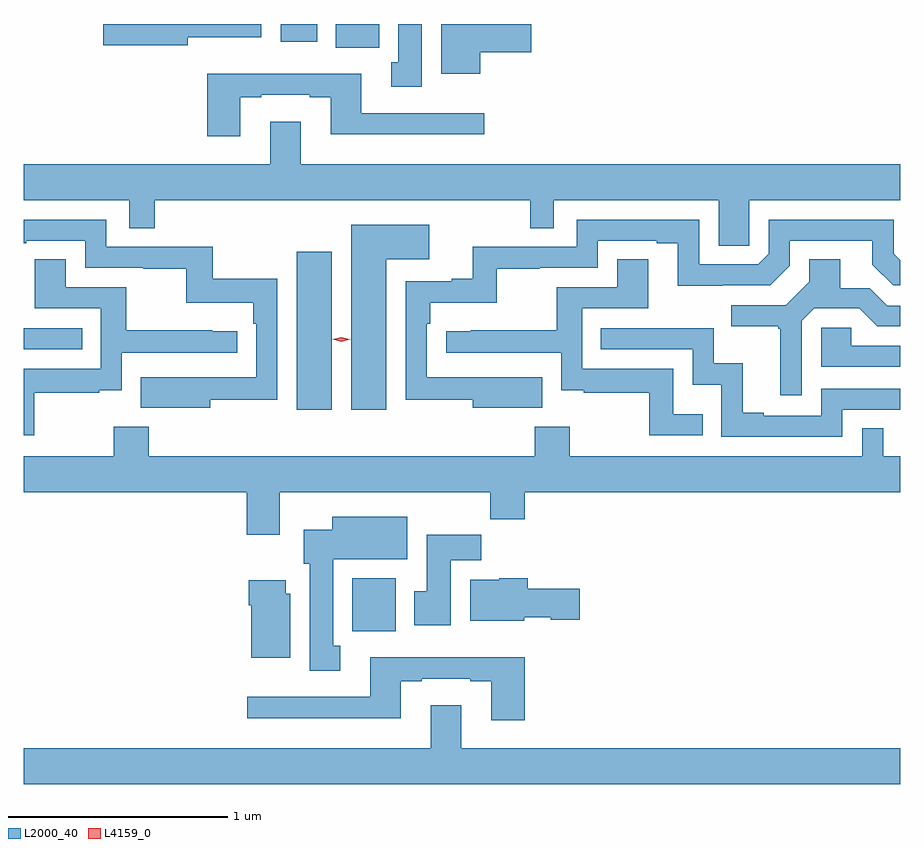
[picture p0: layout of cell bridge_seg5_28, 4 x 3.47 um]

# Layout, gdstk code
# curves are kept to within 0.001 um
import gdstk
lib = gdstk.Library(unit=1e-6, precision=1e-09)
def R(c, l, rs):  # rectangles x0, y0, x1, y1
    for r in rs: c.add(gdstk.rectangle(r[:2], r[2:], *l))
def P(c, l, *ps):  # polygons
    for p in ps: c.add(gdstk.Polygon(p, *l))
L2000_40 = (2000, 40)
L4159_0 = (4159, 0)

bridge_seg5_28 = lib.new_cell('bridge_seg5_28')
R(bridge_seg5_28, L2000_40, [(1103.312,861.452,1103.509,861.694), (1103.057,862.464,1103.218,863.185), (1101.812,862.74,1102.079,862.836), (1103.237,864.116,1103.434,864.224), (1102.985,864.144,1103.152,864.224)])
P(bridge_seg5_28, L2000_40, [(1103.629,864.224),(1103.522,864.224),(1103.522,864.05),(1103.489,864.05),(1103.489,863.937),(1103.629,863.937)],
  [(1102.56,864.164),(1102.897,864.164),(1102.897,864.224),(1102.176,864.224),(1102.176,864.128),(1102.56,864.128)],
  [(1103.896,864.095),(1104.127,864.095),(1104.127,864.224),(1103.717,864.224),(1103.717,863.996),(1103.896,863.996)],
  [(1102.801,863.889),(1102.897,863.889),(1102.897,863.901),(1103.117,863.901),(1103.117,863.889),(1103.213,863.889),(1103.213,863.72),(1103.914,863.72),(1103.914,863.817),(1103.353,863.817),(1103.353,863.998),(1102.649,863.998),(1102.649,863.712),(1102.801,863.712)],
  [(1105.122,863.42),(1105.812,863.42),(1105.812,863.584),(1103.077,863.584),(1103.077,863.779),(1102.937,863.779),(1102.937,863.584),(1101.812,863.584),(1101.812,863.42),(1102.293,863.42),(1102.293,863.293),(1102.409,863.293),(1102.409,863.42),(1104.123,863.42),(1104.123,863.293),(1104.231,863.293),(1104.231,863.42),(1104.983,863.42),(1104.983,863.212),(1105.122,863.212)],
  [(1104.179,862.612),(1103.652,862.611),(1103.652,862.856),(1103.666,862.856),(1103.666,862.952),(1103.971,862.952),(1103.971,863.107),(1104.167,863.107),(1104.167,863.112),(1104.432,863.112),(1104.432,863.235),(1104.701,863.235),(1104.701,863.223),(1104.797,863.223),(1104.797,863.03),(1105.218,863.031),(1105.308,863.121),(1105.308,863.235),(1105.685,863.235),(1105.685,863.125),(1105.779,863.031),(1105.812,863.031),(1105.812,863.145),(1105.782,863.175),(1105.782,863.331),(1105.212,863.331),(1105.212,863.175),(1105.164,863.127),(1104.894,863.127),(1104.894,863.331),(1104.336,863.331),(1104.336,863.208),(1103.861,863.208),(1103.861,863.062),(1103.765,863.062),(1103.765,863.049),(1103.556,863.049),(1103.556,862.51),(1103.861,862.51),(1103.861,862.472),(1104.179,862.472)],
  [(1102.663,862.51),(1102.968,862.51),(1102.968,863.062),(1102.675,863.062),(1102.675,863.208),(1102.188,863.208),(1102.188,863.331),(1101.812,863.331),(1101.812,863.223),(1101.823,863.223),(1101.823,863.235),(1102.092,863.235),(1102.092,863.112),(1102.357,863.112),(1102.357,863.107),(1102.554,863.107),(1102.554,862.952),(1102.859,862.952),(1102.859,862.856),(1102.872,862.856),(1102.872,862.611),(1102.559,862.611),(1102.559,862.612),(1102.345,862.612),(1102.345,862.472),(1102.663,862.472)],
  [(1103.467,863.15),(1103.662,863.15),(1103.662,863.308),(1103.306,863.308),(1103.306,862.464),(1103.467,862.464)],
  [(1101.859,862.542),(1102.157,862.542),(1102.157,862.553),(1102.26,862.553),(1102.26,862.725),(1102.786,862.725),(1102.786,862.821),(1102.673,862.821),(1102.673,862.826),(1102.28,862.826),(1102.28,863.022),(1102.003,863.022),(1102.003,863.15),(1101.863,863.15),(1101.863,862.926),(1102.164,862.926),(1102.164,862.65),(1101.812,862.65),(1101.812,862.347),(1101.859,862.347)],
  [(1104.911,862.444),(1104.777,862.444),(1104.777,862.65),(1104.36,862.65),(1104.36,862.926),(1104.661,862.926),(1104.661,863.15),(1104.521,863.15),(1104.521,863.022),(1104.244,863.022),(1104.244,862.826),(1103.851,862.826),(1103.851,862.821),(1103.739,862.821),(1103.739,862.725),(1104.264,862.725),(1104.264,862.553),(1104.367,862.553),(1104.367,862.542),(1104.666,862.542),(1104.666,862.347),(1104.911,862.347)],
  [(1105.362,862.869),(1105.419,862.926),(1105.625,862.926),(1105.706,862.845),(1105.812,862.845),(1105.812,862.938),(1105.752,862.938),(1105.672,863.018),(1105.537,863.018),(1105.537,863.15),(1105.397,863.15),(1105.397,863.048),(1105.29,862.941),(1105.041,862.941),(1105.041,862.844),(1105.254,862.844),(1105.254,862.833),(1105.265,862.833),(1105.265,862.53),(1105.362,862.53)],
  [(1105.812,862.755),(1105.589,862.755),(1105.589,862.839),(1105.452,862.839),(1105.452,862.659),(1105.812,862.659)],
  [(1105.548,862.464),(1105.812,862.464),(1105.812,862.56),(1105.452,862.56),(1105.452,862.437),(1105.189,862.437),(1105.189,862.45),(1105.093,862.45),(1105.093,862.675),(1104.96,862.675),(1104.96,862.836),(1104.445,862.836),(1104.445,862.74),(1104.864,862.74),(1104.864,862.577),(1104.996,862.577),(1104.996,862.341),(1105.548,862.341)],
  [(1102.981,862.088),(1103.941,862.088),(1103.941,861.964),(1104.098,861.964),(1104.098,862.088),(1105.812,862.088),(1105.812,862.252),(1105.734,862.252),(1105.734,862.379),(1105.638,862.379),(1105.638,862.252),(1104.303,862.252),(1104.303,862.387),(1104.143,862.387),(1104.143,862.252),(1102.382,862.252),(1102.382,862.387),(1102.222,862.387),(1102.222,862.252),(1101.812,862.252),(1101.812,862.088),(1102.829,862.088),(1102.829,861.894),(1102.981,861.894)],
  [(1103.257,861.386),(1103.224,861.386),(1103.224,861.782),(1103.563,861.782),(1103.563,861.976),(1103.219,861.976),(1103.219,861.916),(1103.09,861.916),(1103.09,861.762),(1103.117,861.762),(1103.117,861.273),(1103.257,861.273)],
  [(1103.761,861.776),(1103.9,861.776),(1103.9,861.894),(1103.651,861.894),(1103.651,861.636),(1103.594,861.636),(1103.594,861.48),(1103.761,861.48)],
  [(1104.096,861.518),(1104.216,861.518),(1104.216,861.506),(1104.349,861.506),(1104.349,861.648),(1104.113,861.648),(1104.113,861.694),(1103.982,861.694),(1103.982,861.688),(1103.849,861.688),(1103.849,861.5),(1104.096,861.5)],
  [(1103.029,861.624),(1103.008,861.624),(1103.008,861.685),(1102.838,861.685),(1102.838,861.572),(1102.85,861.572),(1102.85,861.332),(1103.029,861.332)],
  [(1104.098,861.334),(1103.393,861.334),(1103.393,861.153),(1102.833,861.153),(1102.833,861.056),(1103.533,861.056),(1103.533,861.225),(1103.629,861.225),(1103.629,861.237),(1103.849,861.237),(1103.849,861.225),(1103.945,861.225),(1103.945,861.048),(1104.098,861.048)],
  [(1105.812,860.92),(1103.809,860.92),(1103.809,861.115),(1103.669,861.115),(1103.669,860.92),(1101.812,860.92),(1101.812,860.756),(1105.812,860.756)])
P(bridge_seg5_28, L4159_0, [(1103.262,862.775),(1103.222,862.785),(1103.222,862.785),(1103.222,862.786),(1103.262,862.795),(1103.302,862.786),(1103.302,862.785),(1103.302,862.785)])

lib.write_gds('bridge_seg5_28.gds')
